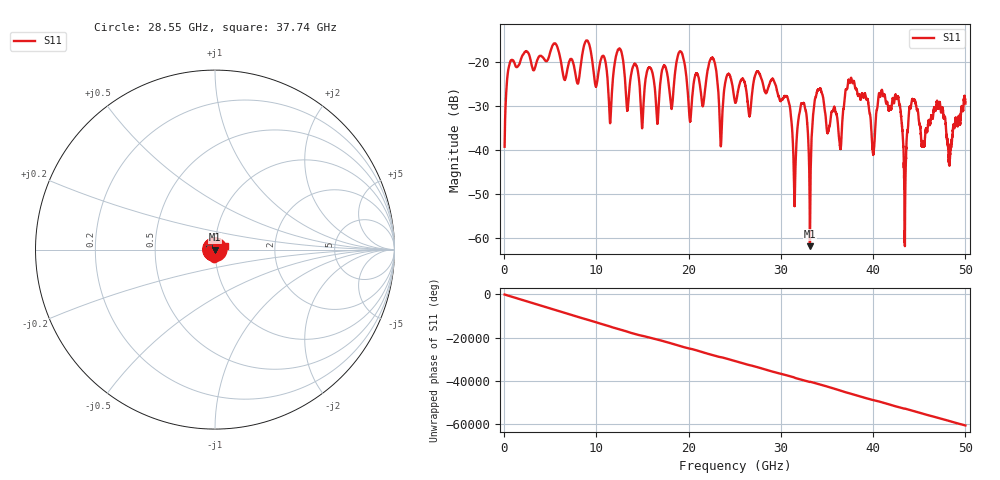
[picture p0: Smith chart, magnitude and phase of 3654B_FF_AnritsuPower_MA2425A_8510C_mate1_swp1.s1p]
!Created with skrf (http://scikit-rf.org).
# Hz S RI R 50.0
!freq ReS11 ImS11
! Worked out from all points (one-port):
!   10001 points, 45 MHz to 50 GHz, reference 50 ohm
!   lowest |S11| = -61.7 dB at 33.15 GHz (marker M1), VSWR 1.00, Z = 50 - j0.0818 ohm
!   |S11| at or under -10 dB: start of sweep to end of sweep
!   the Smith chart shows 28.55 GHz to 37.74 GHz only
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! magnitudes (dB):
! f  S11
! 45 MHz  -39.3
! 784.3 MHz  -19.7
! 6.289 GHz  -21.8
! 9.012 GHz  -15.3
! 11.5 GHz  -33.8
! 12.53 GHz  -17.1
! 14.96 GHz  -35.1
! 18.78 GHz  -19.1
! 20.15 GHz  -33.6
! 22.5 GHz  -19.2
! 23.48 GHz  -39.1
! 24.21 GHz  -23.0
! 25.02 GHz  -29.2
! 29.16 GHz  -24.1
! 31.27 GHz  -37.2
! 32.4 GHz  -29.4
! 33.15 GHz  -61.7
! 33.96 GHz  -26.6
! 36.41 GHz  -39.3
! 37.51 GHz  -24.6
! 39.99 GHz  -40.9
! 40.82 GHz  -27.4
! 42.71 GHz  -28.0
! 43.41 GHz  -56.1
! 43.76 GHz  -35.3
! 47.06 GHz  -30.7
! 48.3 GHz  -42.7
! 50 GHz  -29.5
